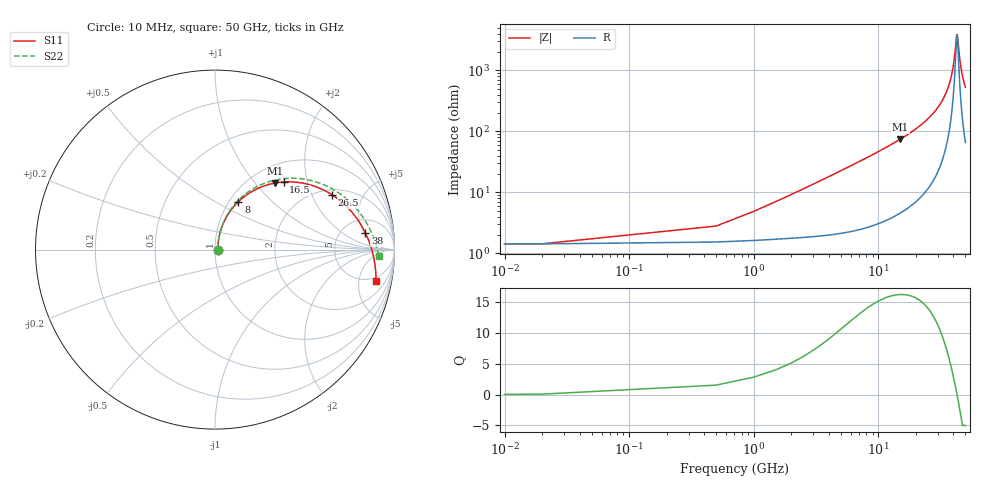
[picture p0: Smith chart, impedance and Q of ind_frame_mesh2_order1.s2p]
! Created with skrf 2.1.0 (http://scikit-rf.org).
# GHz S DB R 50.0
! Port[1] = P1
! Port[2] = P2
!freq dBS11 angS11 dBS21 angS21 dBS12 angS12 dBS22 angS22
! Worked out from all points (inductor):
!   102 points, 10 MHz to 50 GHz, reference 50 ohm
!   read as 1/Y11, port 2 shorted: L = 718 pH near 1.5 GHz
!   highest Q = 16.2 at 15 GHz (marker M1), where L = 787 pH
!   self-resonance near 42.5 GHz
!   S11 on the Smith chart (normalised r, x): 10 MHz: 1.03, +0.00; 8 GHz: 1.10, +0.64; 16.5 GHz: 1.36, +1.44; 26.5 GHz: 2.25, +2.85; 38 GHz: 8.29, +5.32; 50 GHz: 4.05, -8.54
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0.01  -37.03 1.8  -0.12 -0.0  -0.12 -0.0  -37.03 1.8
0.5  -31.96 52.1  -0.14 -1.5  -0.14 -1.5  -31.96 52.2
1  -27.40 65.7  -0.15 -2.9  -0.15 -2.9  -27.39 65.9
1.5  -24.28 70.6  -0.17 -4.3  -0.17 -4.3  -24.28 70.8
2  -21.96 72.6  -0.19 -5.7  -0.19 -5.7  -21.96 72.9
2.5  -20.12 73.3  -0.21 -7.0  -0.21 -7.0  -20.12 73.7
3.5  -17.31 73.0  -0.26 -9.8  -0.26 -9.8  -17.32 73.5
5  -14.34 70.6  -0.36 -13.8  -0.36 -13.8  -14.35 71.4
6.5  -12.20 67.4  -0.49 -17.7  -0.49 -17.7  -12.21 68.4
8  -10.55 64.0  -0.63 -21.5  -0.63 -21.5  -10.56 65.2
8.5  -10.08 62.8  -0.69 -22.8  -0.69 -22.8  -10.09 64.1
11.5  -7.82 55.7  -1.07 -30.1  -1.07 -30.1  -7.83 57.5
15  -6.00 47.8  -1.59 -38.0  -1.59 -38.0  -6.01 50.1
16.5  -5.40 44.5  -1.84 -41.2  -1.84 -41.2  -5.41 47.1
17  -5.21 43.5  -1.92 -42.3  -1.92 -42.3  -5.23 46.1
21  -4.00 35.3  -2.64 -50.3  -2.64 -50.3  -4.01 38.6
25.5  -3.02 26.8  -3.50 -58.5  -3.50 -58.5  -3.04 30.9
26.5  -2.85 25.1  -3.70 -60.2  -3.70 -60.2  -2.86 29.3
33.5  -1.90 13.3  -5.17 -71.5  -5.17 -71.5  -1.92 18.8
38  -1.48 6.3  -6.18 -78.2  -6.18 -78.2  -1.50 12.7
42  -1.19 0.4  -7.12 -83.7  -7.12 -83.7  -1.21 7.5
50  -0.78 -10.9  -9.18 -94.2  -9.18 -94.2  -0.79 -2.1
